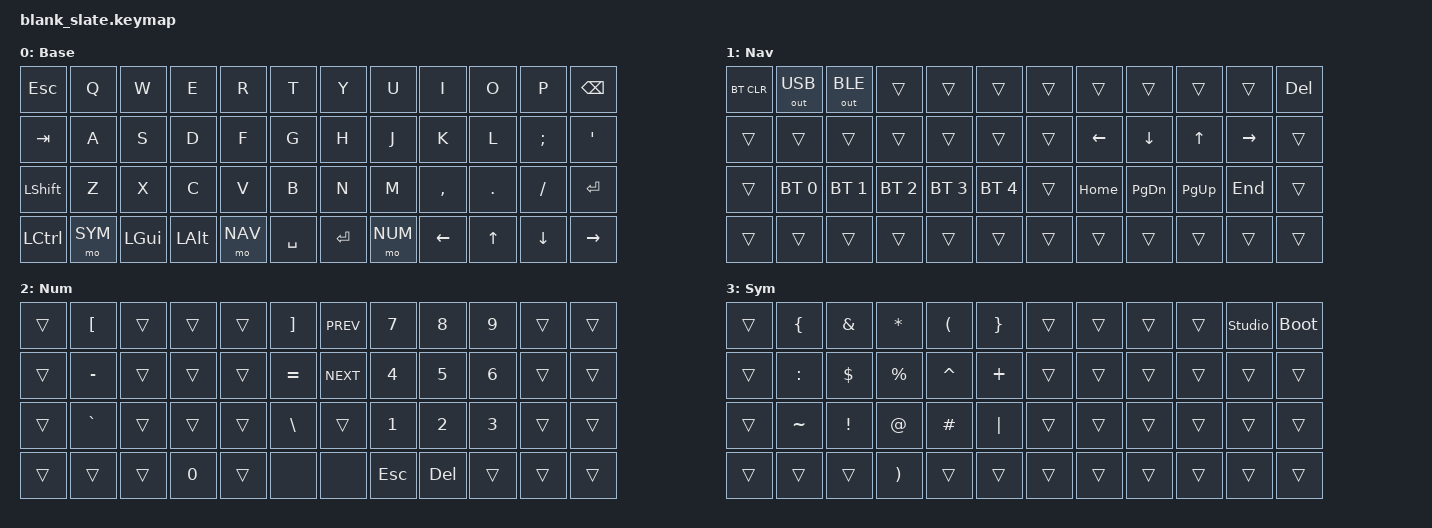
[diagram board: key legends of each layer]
/*
 * Copyright (c) 2022 Pete Johanson
 *
 * SPDX-License-Identifier: MIT
 */

#include <behaviors.dtsi>
#include <dt-bindings/zmk/keys.h>
#include <dt-bindings/zmk/bt.h>
#include <dt-bindings/zmk/outputs.h>

#define NAV 1
#define NUM 2
#define SYM 3

/ {
    keymap {
        compatible = "zmk,keymap";

        base_layer {
            display-name = "Base";
            bindings = <
&kp ESC    &kp Q      &kp W      &kp E      &kp R      &kp T      &kp Y      &kp U      &kp I      &kp O      &kp P      &kp BKSP
&kp TAB    &kp A      &kp S      &kp D      &kp F      &kp G      &kp H      &kp J      &kp K      &kp L      &kp SEMI   &kp QUOT
&kp LSHFT  &kp Z      &kp X      &kp C      &kp V      &kp B      &kp N      &kp M      &kp COMMA  &kp DOT    &kp FSLH   &kp RET
&kp LCTRL  &mo SYM    &kp LGUI   &kp LALT   &mo NAV    &kp SPACE  &kp RET    &mo NUM    &kp LEFT   &kp UP     &kp DOWN   &kp RIGHT
            >;
        };

        nav_layer {
            display-name = "Nav";
            bindings = <
&bt BT_CLR  &out OUT_USB  &out OUT_BLE  &trans       &trans       &trans       &trans  &trans     &trans      &trans     &trans     &kp DEL
&trans      &trans       &trans       &trans       &trans       &trans       &trans  &kp LEFT   &kp DOWN    &kp UP     &kp RIGHT  &trans
&trans      &bt BT_SEL 0 &bt BT_SEL 1 &bt BT_SEL 2 &bt BT_SEL 3 &bt BT_SEL 4 &trans  &kp HOME   &kp PG_DN   &kp PG_UP  &kp END    &trans
&trans      &trans       &trans       &trans       &trans       &trans       &trans  &trans     &trans      &trans     &trans     &trans
            >;
        };

        num_layer {
            display-name = "Num";
            bindings = <
&trans  &kp LBKT   &trans  &trans  &trans  &kp RBKT   &kp C_PREV  &kp N7   &kp N8   &kp N9  &trans  &trans
&trans  &kp MINUS  &trans  &trans  &trans  &kp EQUAL  &kp C_NEXT  &kp N4   &kp N5   &kp N6  &trans  &trans
&trans  &kp GRAVE  &trans  &trans  &trans  &kp BSLH   &trans      &kp N1   &kp N2   &kp N3  &trans  &trans
&trans  &trans     &trans  &kp N0  &trans  &none      &none       &kp ESC  &kp DEL  &trans  &trans  &trans
            >;
        };

        sym_layer {
            display-name = "Sym";
            bindings = <
&trans  &kp LBRC   &kp AMPS  &kp STAR   &kp LPAR   &kp RBRC  &trans  &trans  &trans  &trans  &studio_unlock  &bootloader
&trans  &kp COLON  &kp DLLR  &kp PRCNT  &kp CARET  &kp PLUS  &trans  &trans  &trans  &trans  &trans         &trans
&trans  &kp TILDE  &kp EXCL  &kp AT     &kp HASH   &kp PIPE  &trans  &trans  &trans  &trans  &trans         &trans
&trans  &trans     &trans    &kp RPAR   &trans     &trans    &trans  &trans  &trans  &trans  &trans         &trans
            >;
        };
    };
};
